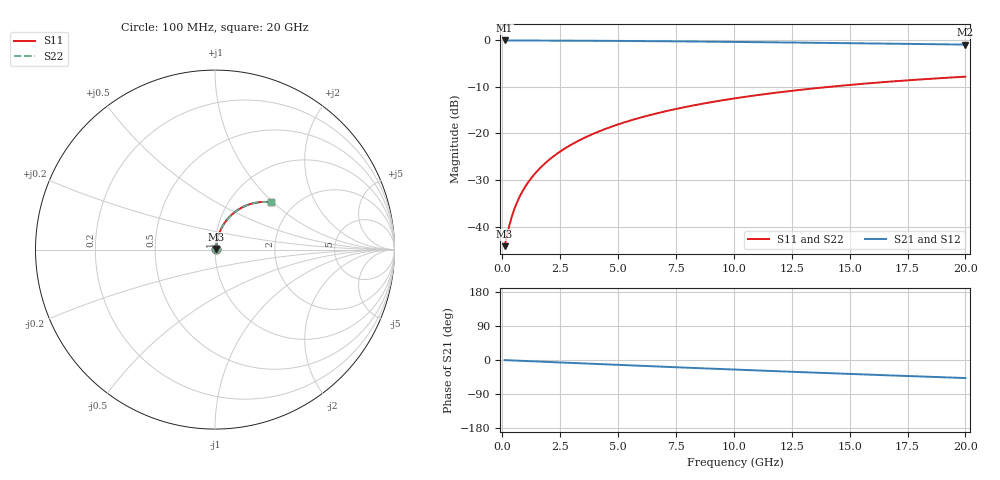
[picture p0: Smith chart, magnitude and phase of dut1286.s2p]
! Touchstone file exported from HFSS 2026.1.0
!  File:  C:/ffzhzh/LocalFiles/Ansys_Project_Files/temp_train_TMRDL_1286_1783164454_51560.aedt
!  Generated:  07:28:45 PM Jul  4, 2026
!  Design:  TMRDL
!  Project:  temp_train_TMRDL_1286_1783164454_51560
! Variables:
!  h_bsmrdl = 2um
!  h_ox = 20um
!  h_rdl = 5um
!  h_sub = 80um
!  h_tmrdl = 2.78um
!  h_tsv = 80um
!  h_via = 3um
!  l_bsmrdl = 300um
!  l_sub = 1126.81um
!  l_tmrdl = 726.81um
!  m_sub = 200um
!  pitch = 37.3um
!  r_tsv = 6um
!  s_tmrdl = 10um
!  w_bsmrdl = 18um
!  w_sub = 500um
!  w_tmrdl = 17.29um
!  x_tsv_center1 = 735.455um
!  x_tsv_center2 = 1053.455um
!  x_tsv_center3 = 1797.555um
!  x_tsv_center4 = 2115.555um
!  x_tsv_center5 = 2859.655um
!  x_tsv_center6 = 3177.655um
# GHz S MA R 50.000000
! Terminal data exported
! Port[1] = TM_RDL1_1_T1
! Port[2] = TM_RDL1_1_T2
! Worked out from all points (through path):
!   200 points, 100 MHz to 20 GHz, reference 50 ohm
!   highest |S21| = -0.05 dB at 100 MHz (marker M1); lowest = -0.9 dB at 20 GHz (marker M2)
!   group delay of S21, straight-line fit = 6.62 ps
!   lowest |S11| = -44.2 dB at 100 MHz (marker M3), VSWR 1.01, Z = 50.6 + j0.285 ohm
!   |S11| at or under -10 dB: start of sweep to 14.12 GHz
!   |S22| runs from -44.2 to -7.8 dB; largest |S21 - S12| = 2.7e-15
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0.1  0.006181 27.1  0.9945 -0.3  0.9945 -0.3  0.006181 27.1
! Gamma 0 0 0 0
! Port Impedance 50 0 50 0
0.3  0.01019 54.4  0.9941 -0.8  0.9941 -0.8  0.01019 54.4
0.4  0.01255 60.3  0.9939 -1.1  0.9939 -1.1  0.01255 60.3
0.5  0.01496 64.1  0.9937 -1.3  0.9937 -1.3  0.01496 64.1
0.6  0.01737 66.8  0.9935 -1.6  0.9935 -1.6  0.01737 66.8
0.7  0.01979 68.9  0.9933 -1.9  0.9933 -1.9  0.01979 68.9
0.9  0.02463 71.7  0.993 -2.4  0.993 -2.4  0.02463 71.7
1.2  0.03194 74.2  0.9925 -3.2  0.9925 -3.2  0.03194 74.2
1.4  0.03684 75.2  0.9923 -3.7  0.9923 -3.7  0.03684 75.2
1.7  0.04423 76.2  0.9918 -4.4  0.9918 -4.4  0.04423 76.1
2.2  0.0566 76.7  0.991 -5.7  0.991 -5.7  0.0566 76.7
2.8  0.07144 76.6  0.9898 -7.3  0.9898 -7.3  0.07144 76.6
3.5  0.08868 75.8  0.9882 -9.1  0.9882 -9.1  0.08868 75.8
4.2  0.1058 74.7  0.9862 -10.8  0.9862 -10.8  0.1058 74.7
5  0.1251 73.2  0.9835 -12.9  0.9835 -12.9  0.1251 73.2
5.9  0.1464 71.3  0.9801 -15.1  0.9801 -15.1  0.1464 71.3
6.8  0.1673 69.3  0.9763 -17.4  0.9763 -17.4  0.1672 69.3
8.3  0.2009 65.9  0.9691 -21.1  0.9691 -21.1  0.2009 65.9
10.1  0.2393 61.8  0.9594 -25.4  0.9594 -25.4  0.2392 61.8
13.4  0.3033 54.4  0.9397 -33.2  0.9397 -33.2  0.3033 54.4
16.7  0.3591 47.2  0.9189 -40.5  0.9189 -40.5  0.3591 47.2
20  0.4066 40.4  0.8985 -47.6  0.8985 -47.6  0.4066 40.3
